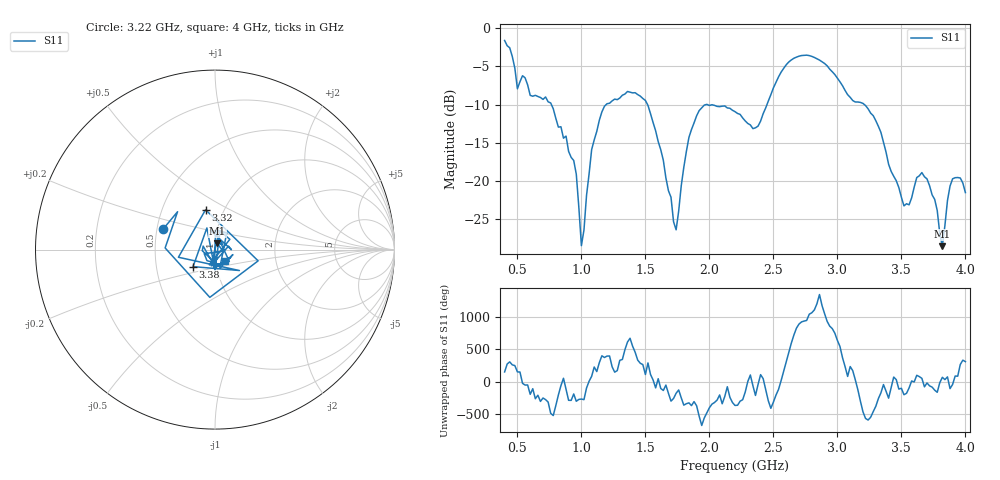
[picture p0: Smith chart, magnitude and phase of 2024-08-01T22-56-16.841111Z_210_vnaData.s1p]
!Created with skrf (http://scikit-rf.org).
# Hz S RI R 50.0
!freq ReS11 ImS11
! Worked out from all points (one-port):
!   181 points, 400 MHz to 4 GHz, reference 50 ohm
!   lowest |S11| = -28.5 dB at 3.82 GHz (marker M1), VSWR 1.08, Z = 51.1 + j3.63 ohm
!   |S11| at or under -10 dB: 1.517 GHz to 1.973 GHz (456.5 MHz wide, 26.2 % of centre); 1.984 GHz to 2.45 GHz (465.5 MHz wide, 21 % of centre); 3.211 GHz to end of sweep (the widest 3 of 4)
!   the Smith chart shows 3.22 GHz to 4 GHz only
!   S11 on the Smith chart (normalised r, x): 3.22 GHz: 0.54, +0.13; 3.32 GHz: 0.82, +0.38; 3.38 GHz: 0.77, -0.15; 4 GHz: 1.11, -0.14
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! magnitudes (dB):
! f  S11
! 400 MHz  -1.6
! 500 MHz  -7.9
! 720 MHz  -9.0
! 860 MHz  -14.4
! 960 MHz  -19.1
! 1 GHz  -28.4
! 1.08 GHz  -15.9
! 1.18 GHz  -10.2
! 1.3 GHz  -9.1
! 1.52 GHz  -10.1
! 1.72 GHz  -25.3
! 1.76 GHz  -23.9
! 1.84 GHz  -14.3
! 1.92 GHz  -10.8
! 2.2 GHz  -10.9
! 2.38 GHz  -12.8
! 2.66 GHz  -3.9
! 2.9 GHz  -4.6
! 3.1 GHz  -9.0
! 3.22 GHz  -10.1
! 3.32 GHz  -12.8
! 3.38 GHz  -16.2
! 3.56 GHz  -23.1
! 3.62 GHz  -19.5
! 3.7 GHz  -19.7
! 3.82 GHz  -28.5
! 3.9 GHz  -19.7
! 4 GHz  -21.5
